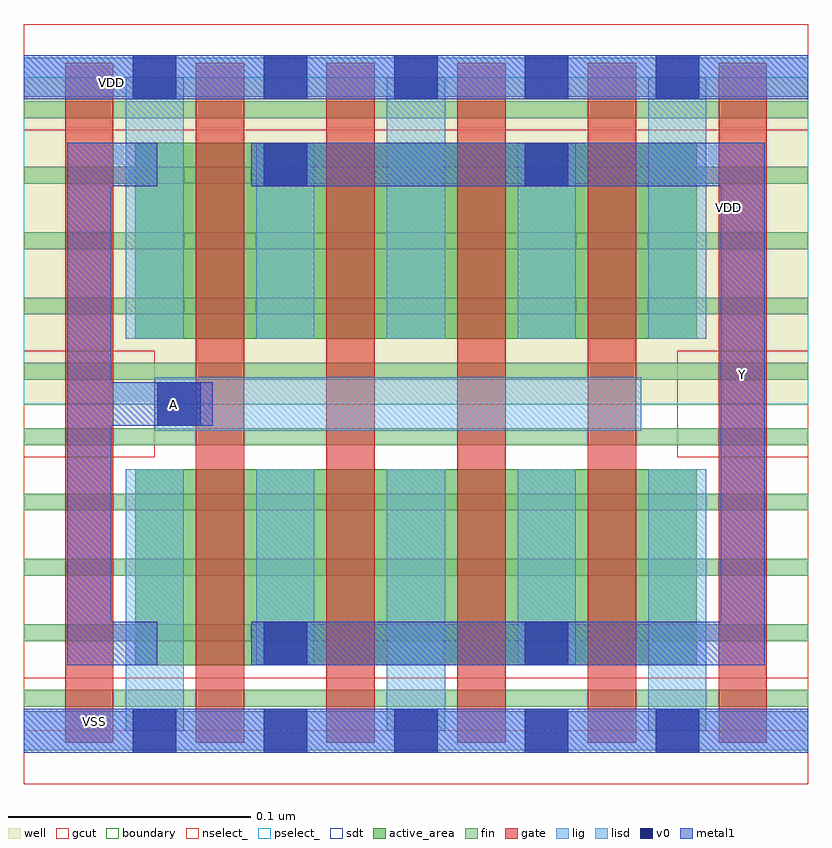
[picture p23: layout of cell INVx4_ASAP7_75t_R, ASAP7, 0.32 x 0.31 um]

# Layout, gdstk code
import gdstk
lib = gdstk.Library(unit=1e-6, precision=1e-09)
def R(c, l, rs):  # rectangles x0, y0, x1, y1
    for r in rs: c.add(gdstk.rectangle(r[:2], r[2:], *l))
def A(c, l, x, y, w, h, nx, ny, dx, dy):  # array of equal rectangles
    R(c, l, [(x+i*dx, y+j*dy, x+i*dx+w, y+j*dy+h) for i in range(nx) for j in range(ny)])
def P(c, l, *ps):  # polygons
    for p in ps: c.add(gdstk.Polygon(p, *l))
well = (1, 0)
fin = (2, 0)
gate = (7, 0)
gcut = (10, 0)
active_area = (11, 0)
nselect_ = (12, 0)
pselect_ = (13, 0)
lig = (16, 0)
lisd = (17, 0)
v0 = (18, 0)
metal1 = (19, 0)
sdt = (88, 0)
boundary = (100, 0)

invx4_asap7_75t_r = lib.new_cell('INVx4_ASAP7_75t_R')
R(invx4_asap7_75t_r, well, [(0,0.135,0.324,0.27)])
A(invx4_asap7_75t_r, fin, 0, 0.01, 0.324, 0.007, 1, 10, 0, 0.027)
A(invx4_asap7_75t_r, gate, 0.017, -0.005, 0.02, 0.281, 6, 1, 0.054, 0)
R(invx4_asap7_75t_r, gcut, [(0,-0.022,0.324,0.022), (0,0.113,0.054,0.157), (0.27,0.113,0.324,0.157), (0,0.248,0.324,0.292)])
R(invx4_asap7_75t_r, active_area, [(0.046,0.027,0.278,0.108), (0.046,0.162,0.278,0.243)])
R(invx4_asap7_75t_r, nselect_, [(0,0,0.324,0.135)])
R(invx4_asap7_75t_r, pselect_, [(0,0.135,0.324,0.27)])
R(invx4_asap7_75t_r, lig, [(0,-0.008,0.324,0.008), (0.054,0.124,0.255,0.146), (0,0.262,0.324,0.278)])
A(invx4_asap7_75t_r, lisd, 0.042, 0, 0.024, 0.108, 3, 2, 0.108, 0.162)
R(invx4_asap7_75t_r, lisd, [(0.096,0.027,0.12,0.108), (0.204,0.027,0.228,0.108), (0.096,0.162,0.12,0.243), (0.204,0.162,0.228,0.243)])
A(invx4_asap7_75t_r, v0, 0.045, -0.009, 0.018, 0.018, 5, 2, 0.054, 0.27)
R(invx4_asap7_75t_r, v0, [(0.099,0.027,0.117,0.045), (0.207,0.027,0.225,0.045), (0.055,0.126,0.073,0.144), (0.099,0.225,0.117,0.243), (0.207,0.225,0.225,0.243)])
R(invx4_asap7_75t_r, metal1, [(0,-0.009,0.324,0.009), (0,0.261,0.324,0.279)])
P(invx4_asap7_75t_r, metal1, [(0.018,0.027),(0.018,0.243),(0.055,0.243),(0.055,0.225),(0.036,0.225),(0.036,0.144),(0.078,0.144),(0.078,0.126),(0.036,0.126),(0.036,0.045),(0.055,0.045),(0.055,0.027)],
  [(0.094,0.027),(0.094,0.045),(0.288,0.045),(0.288,0.225),(0.094,0.225),(0.094,0.243),(0.306,0.243),(0.306,0.027)])
A(invx4_asap7_75t_r, sdt, 0.042, 0.027, 0.024, 0.081, 5, 2, 0.054, 0.135)
R(invx4_asap7_75t_r, boundary, [(0,0,0.324,0.27)])
invx4_asap7_75t_r.add(gdstk.Label('VSS', (0.029,0.004), layer=19, texttype=251))
invx4_asap7_75t_r.add(gdstk.Label('VDD', (0.036,0.268), layer=19, texttype=251))
invx4_asap7_75t_r.add(gdstk.Label('A', (0.062,0.135), layer=19, texttype=251))
invx4_asap7_75t_r.add(gdstk.Label('Y', (0.297,0.147), layer=19, texttype=251))
invx4_asap7_75t_r.add(gdstk.Label('VDD', (0.291,0.216), layer=1, texttype=251))
invx4_asap7_75t_r.add(gdstk.Label('VSS', (0.36,0.215), layer=3, texttype=251))

lib.write_gds('INVx4_ASAP7_75t_R.gds')
